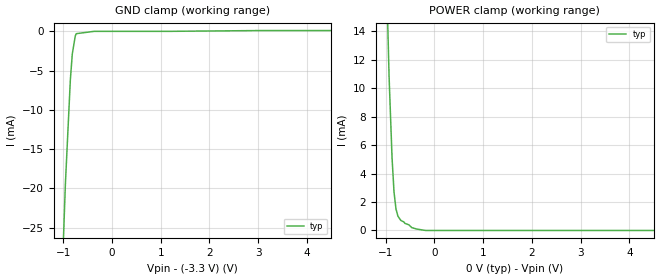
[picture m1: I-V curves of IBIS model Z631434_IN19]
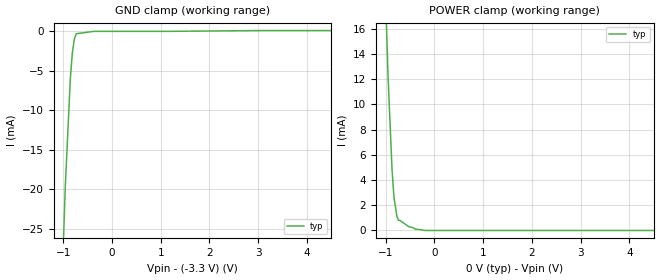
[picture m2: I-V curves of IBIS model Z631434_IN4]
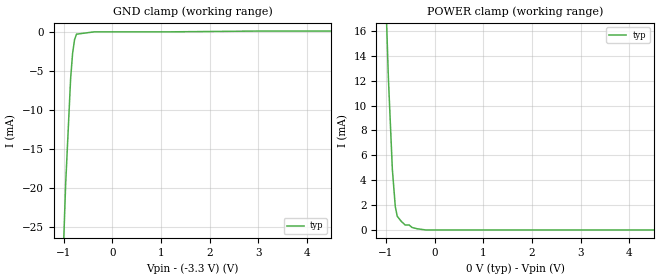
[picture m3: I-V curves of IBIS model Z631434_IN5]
| YOU ARE ONLY AUTHORIZED TO USE THIS SOFTWARE
| ACCORDING TO LICENSOR'S LICENSE RESTRICTIONS.
[IBIS Ver] 3.1
[File Name] mc10ep57dt_-33.ibs
[File Rev] 3.0
[Source] Measured and created by ICX Technology
[Date] 2/14/2003
[Copyright]
| (C) COPYRIGHT 1993-2000
| MENTOR GRAPHICS CORPORATION
| ICX STANDARD LIBRARY, ICX PROJECT MODELING,
| ICX CUSTOM MODELING, ICX VENDOR MODEL
| ALL RIGHTS RESERVED.
| THE FOLLOWING ARE TRADEMARKS OR SERVICE MARKS OF
| MENTOR GRAPHICS CORPORATION:ICX (R), ICX STANDARD
| LIBRARY(R), ICX PROJECT MODELING(R), ICX CUSTOM
| MODELING(R), qualityIBIS(TM), MODELVIEWER(TM),
| AND MODELEDITOR(TM)
| ALL COPIES OF SOFTWARE, INCLUDING BUT NOT LIMITED TO
| ANY MODIFICATIONS, ENHANCEMENTS OR DERIVATIVE WORKS,
| MUST CONTAIN ALL MENTOR GRAPHICS CORPORATION'S
| NOTICES AND LEGENDS, INCLUDING THOSE EMBEDDED IN
| SOFTWARE AND THOSE AFFIXED TO SOFTWARE MEDIUM
| AND CONTAINER, AS RECEIVED FROM MENTOR GRAPHICS
| CORPORATION.
|  ZAP Model Builder 2.8
[Component] MC10EP57DT_-33
[Manufacturer] OnSemiconductor
[Package]
| variable   typ   min   max
R_pkg  .18ohms NA NA
L_pkg  4.22nH NA NA
C_pkg  .41pF NA NA
[Pin] signal_name  model_name  R_pin  L_pin C_pin
1 VCC GND .194 5.16n .43p
2 D0 Z631434_IN4 .185 4.57n .42p
3 _D0 Z631434_IN5 .177 3.98n .42p
4 D1 Z631434_IN4 .174 3.79n .41p
5 _D1 Z631434_IN5 .171 3.6n .37p
6 D2 Z631434_IN4 .171 3.6n .37p
7 _D2 Z631434_IN5 .174 3.79n .41p
8 D3 Z631434_IN4 .177 3.98n .42p
9 _D3 Z631434_IN5 .185 4.57n .42p
10 VEE POWER .194 5.16n .43p
11 VEE POWER .194 5.16n .43p
12 VBB2 POWER .185 4.57n .42p
13 VBB1 POWER .177 3.98n .42p
14 VCC GND .174 3.79n .41p
15 _Q Z631434_OUT15 .171 3.6n .37p
16 Q Z631434_OUT16 .171 3.6n .37p
17 VCC GND .174 3.79n .41p
18 SEL0 Z631434_IN19 .177 3.98n .42p
19 SEL1 Z631434_IN19 .185 4.57n .42p
20 VCC GND .194 5.16n .43p
[Diff Pin] inv_pin vdiff tdelay_typ tdelay_min tdelay_max
16 15 NA NA NA NA
2 3 150mv NA NA NA
4 5 150mv NA NA NA
6 7 150mv NA NA NA
8 9 150mv NA NA NA
| Models and submodels in the file (5): Z631434_IN19 (Input_ECL), Z631434_IN4 (Input_ECL), Z631434_IN5 (Input_ECL), Z631434_OUT15 (Output_ECL), Z631434_OUT16 (Output_ECL)
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| (C) COPYRIGHT 1993-2000
| MENTOR GRAPHICS CORPORATION
| ICX STANDARD LIBRARY, ICX PROJECT MODELING,
| ICX CUSTOM MODELING, ICX VENDOR MODEL
| ALL RIGHTS RESERVED.
| THE FOLLOWING ARE TRADEMARKS OR SERVICE MARKS OF
| MENTOR GRAPHICS CORPORATION:ICX (R), ICX STANDARD
| LIBRARY(R), ICX PROJECT MODELING(R), ICX CUSTOM
| MODELING(R), qualityIBIS(TM), MODELVIEWER(TM),
| AND MODELEDITOR(TM)
| ALL COPIES OF SOFTWARE, INCLUDING BUT NOT LIMITED TO
| ANY MODIFICATIONS, ENHANCEMENTS OR DERIVATIVE WORKS,
| MUST CONTAIN ALL MENTOR GRAPHICS CORPORATION'S
| NOTICES AND LEGENDS, INCLUDING THOSE EMBEDDED IN
| SOFTWARE AND THOSE AFFIXED TO SOFTWARE MEDIUM
| AND CONTAINER, AS RECEIVED FROM MENTOR GRAPHICS
| CORPORATION.
| Model Application Version 1.89 2/18/99.
[Model] Z631434_IN19
Model_type Input_ECL
Vinl = -1.545V
Vinh = -1.145V
C_comp 1.000pF NA NA
| variable typ   min   max
[Voltage Range] -3.300V NA NA
[GND Clamp Reference] -3.300V NA NA
[POWER Clamp Reference] 0.000V NA NA
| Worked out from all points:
|   GND clamp passes 1 mA (typ) near -0.76 V on its own axis
|   POWER clamp passes 1 mA (typ) near -0.75 V on its own axis
[GND Clamp]
-3.3V     -514.1mA   NA         NA
-1.058V   -37.3mA    NA         NA
-957mV    -19.5mA    NA         NA
-855mV    -6.2mA     NA         NA
-815mV    -2.9mA     NA         NA
-754mV    -600uA     NA         NA
-734mV    -300uA     NA         NA
-367mV    0A         NA         NA
1.192V    0A         NA         NA
3.057V    100uA      NA         NA
6.6V      100uA      NA         NA
[POWER Clamp]
-3.3V     416.2mA    NA         NA
-1.054V   27.1mA     NA         NA
-932mV    10.8mA     NA         NA
-871mV    5.1mA      NA         NA
-831mV    2.7mA      NA         NA
-790mV    1.5mA      NA         NA
-750mV    1mA        NA         NA
-689mV    700uA      NA         NA
-527mV    400uA      NA         NA
-466mV    200uA      NA         NA
-182.5mV  0A         NA         NA
6.6V      0A         NA         NA
| (C) COPYRIGHT 1993-2000
| MENTOR GRAPHICS CORPORATION
| ICX STANDARD LIBRARY, ICX PROJECT MODELING,
| ICX CUSTOM MODELING, ICX VENDOR MODEL
| ALL RIGHTS RESERVED.
| THE FOLLOWING ARE TRADEMARKS OR SERVICE MARKS OF
| MENTOR GRAPHICS CORPORATION:ICX (R), ICX STANDARD
| LIBRARY(R), ICX PROJECT MODELING(R), ICX CUSTOM
| MODELING(R), qualityIBIS(TM), MODELVIEWER(TM),
| AND MODELEDITOR(TM)
| ALL COPIES OF SOFTWARE, INCLUDING BUT NOT LIMITED TO
| ANY MODIFICATIONS, ENHANCEMENTS OR DERIVATIVE WORKS,
| MUST CONTAIN ALL MENTOR GRAPHICS CORPORATION'S
| NOTICES AND LEGENDS, INCLUDING THOSE EMBEDDED IN
| SOFTWARE AND THOSE AFFIXED TO SOFTWARE MEDIUM
| AND CONTAINER, AS RECEIVED FROM MENTOR GRAPHICS
| CORPORATION.
| Model Application Version 1.89 2/18/99.
[Model] Z631434_IN4
Model_type Input_ECL
Vinl = -1.545V
Vinh = -1.145V
C_comp 1.000pF NA NA
| variable typ   min   max
[Voltage Range] -3.300V NA NA
[GND Clamp Reference] -3.300V NA NA
[POWER Clamp Reference] 0.000V NA NA
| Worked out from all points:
|   GND clamp passes 1 mA (typ) near -0.77 V on its own axis
|   POWER clamp passes 1 mA (typ) near -0.76 V on its own axis
[GND Clamp]
-3.3V     -531.4mA   NA         NA
-1.078V   -41.5mA    NA         NA
-957mV    -19.4mA    NA         NA
-855mV    -6mA       NA         NA
-815mV    -2.8mA     NA         NA
-774mV    -1mA       NA         NA
-733mV    -300uA     NA         NA
-366.5mV  0A         NA         NA
1.182V    0A         NA         NA
3.037V    100uA      NA         NA
6.6V      100uA      NA         NA
[POWER Clamp]
-3.3V     369.6mA    NA         NA
-1.054V   24.8mA     NA         NA
-953mV    12.2mA     NA         NA
-871mV    4.8mA      NA         NA
-831mV    2.6mA      NA         NA
-770mV    1.1mA      NA         NA
-739.5mV  800uA      NA         NA
-709mV    800uA      NA         NA
-527mV    300uA      NA         NA
-395mV    100uA      NA         NA
-182.5mV  0A         NA         NA
6.6V      0A         NA         NA
| (C) COPYRIGHT 1993-2000
| MENTOR GRAPHICS CORPORATION
| ICX STANDARD LIBRARY, ICX PROJECT MODELING,
| ICX CUSTOM MODELING, ICX VENDOR MODEL
| ALL RIGHTS RESERVED.
| THE FOLLOWING ARE TRADEMARKS OR SERVICE MARKS OF
| MENTOR GRAPHICS CORPORATION:ICX (R), ICX STANDARD
| LIBRARY(R), ICX PROJECT MODELING(R), ICX CUSTOM
| MODELING(R), qualityIBIS(TM), MODELVIEWER(TM),
| AND MODELEDITOR(TM)
| ALL COPIES OF SOFTWARE, INCLUDING BUT NOT LIMITED TO
| ANY MODIFICATIONS, ENHANCEMENTS OR DERIVATIVE WORKS,
| MUST CONTAIN ALL MENTOR GRAPHICS CORPORATION'S
| NOTICES AND LEGENDS, INCLUDING THOSE EMBEDDED IN
| SOFTWARE AND THOSE AFFIXED TO SOFTWARE MEDIUM
| AND CONTAINER, AS RECEIVED FROM MENTOR GRAPHICS
| CORPORATION.
| Model Application Version 1.89 2/18/99.
[Model] Z631434_IN5
Model_type Input_ECL
Vinl = -1.545V
Vinh = -1.145V
C_comp 1.000pF NA NA
| variable typ   min   max
[Voltage Range] -3.300V NA NA
[GND Clamp Reference] -3.300V NA NA
[POWER Clamp Reference] 0.000V NA NA
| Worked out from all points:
|   GND clamp passes 1 mA (typ) near -0.77 V on its own axis
|   POWER clamp passes 1 mA (typ) near -0.75 V on its own axis
[GND Clamp]
-3.3V     -528.7mA   NA         NA
-1.058V   -37.7mA    NA         NA
-957mV    -19.5mA    NA         NA
-855mV    -6mA       NA         NA
-815mV    -2.8mA     NA         NA
-774mV    -1mA       NA         NA
-734mV    -300uA     NA         NA
-367mV    0A         NA         NA
1.171V    0A         NA         NA
3.016V    100uA      NA         NA
6.6V      100uA      NA         NA
[POWER Clamp]
-3.3V     364.8mA    NA         NA
-1.054V   24.7mA     NA         NA
-953mV    12.3mA     NA         NA
-871mV    4.9mA      NA         NA
-811mV    1.9mA      NA         NA
-770mV    1.1mA      NA         NA
-689mV    700uA      NA         NA
-608mV    400uA      NA         NA
-527mV    400uA      NA         NA
-466mV    200uA      NA         NA
-182mV    0A         NA         NA
6.6V      0A         NA         NA
